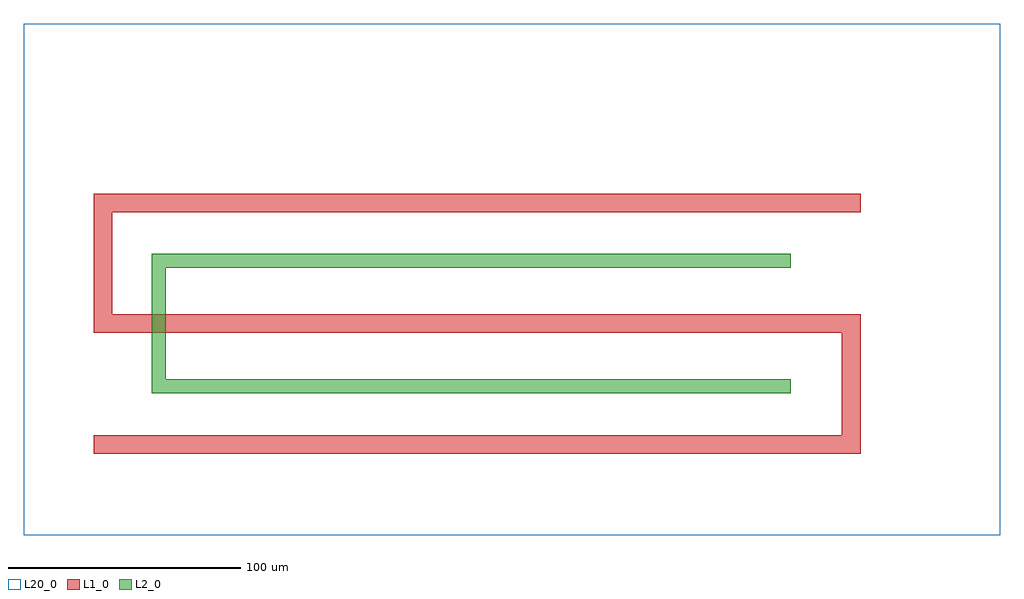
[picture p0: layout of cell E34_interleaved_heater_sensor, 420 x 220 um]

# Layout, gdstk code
import gdstk
lib = gdstk.Library(unit=1e-6, precision=1e-09)
def R(c, l, rs):  # rectangles x0, y0, x1, y1
    for r in rs: c.add(gdstk.rectangle(r[:2], r[2:], *l))
def A(c, l, x, y, w, h, nx, ny, dx, dy):  # array of equal rectangles
    R(c, l, [(x+i*dx, y+j*dy, x+i*dx+w, y+j*dy+h) for i in range(nx) for j in range(ny)])
L1_0 = (1, 0)
L2_0 = (2, 0)
L20_0 = (20, 0)

e34_interleaved_heater_s = lib.new_cell('E34_interleaved_heater_sensor')
A(e34_interleaved_heater_s, L1_0, 30, 35, 330, 8, 1, 3, 0, 52)
R(e34_interleaved_heater_s, L1_0, [(352,35,360,95), (30,87,38,147)])
R(e34_interleaved_heater_s, L2_0, [(55,61,330,67), (55,61,61,121), (55,115,330,121)])
R(e34_interleaved_heater_s, L20_0, [(0,0,420,220)])

lib.write_gds('E34_interleaved_heater_sensor.gds')
